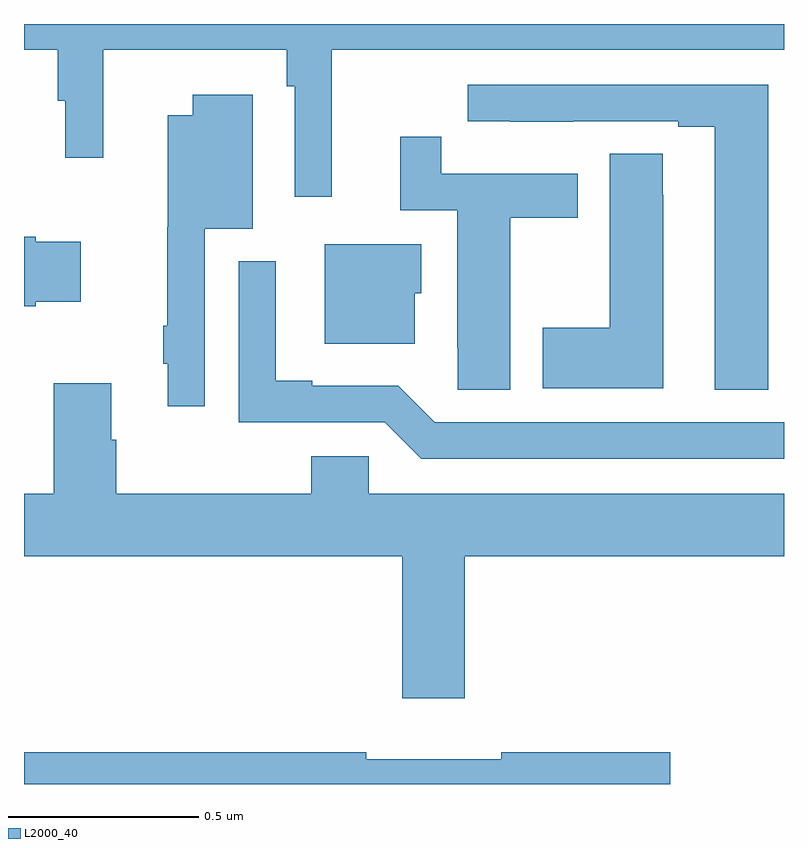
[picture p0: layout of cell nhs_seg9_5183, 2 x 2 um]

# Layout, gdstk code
import gdstk
lib = gdstk.Library(unit=1e-6, precision=1e-09)
def P(c, l, *ps):  # polygons
    for p in ps: c.add(gdstk.Polygon(p, *l))
L2000_40 = (2000, 40)

nhs_seg9_5183 = lib.new_cell('nhs_seg9_5183')
P(nhs_seg9_5183, L2000_40, [(176.81,1184.432),(178,1184.432),(178,1184.5),(176,1184.5),(176,1184.432),(176.089,1184.432),(176.089,1184.298),(176.108,1184.298),(176.108,1184.148),(176.208,1184.148),(176.208,1184.432),(176.692,1184.432),(176.692,1184.336),(176.712,1184.336),(176.712,1184.046),(176.81,1184.046)],
  [(177.958,1184.34),(177.168,1184.34),(177.168,1184.244),(177.28,1184.244),(177.28,1184.243),(177.446,1184.243),(177.446,1184.244),(177.722,1184.244),(177.722,1184.229),(177.818,1184.229),(177.818,1183.537),(177.958,1183.537)],
  [(176.475,1183.961),(176.602,1183.961),(176.602,1184.314),(176.444,1184.314),(176.444,1184.26),(176.378,1184.26),(176.378,1183.965),(176.377,1183.965),(176.377,1183.706),(176.367,1183.706),(176.367,1183.606),(176.378,1183.606),(176.378,1183.494),(176.475,1183.494)],
  [(177.28,1183.99),(177.457,1183.99),(177.457,1184.106),(177.098,1184.106),(177.098,1184.203),(176.99,1184.203),(176.99,1184.01),(177.14,1184.01),(177.14,1183.648),(177.141,1183.648),(177.141,1183.537),(177.28,1183.537)],
  [(177.682,1184.051),(177.681,1184.051),(177.681,1184.159),(177.542,1184.159),(177.542,1183.701),(177.365,1183.701),(177.365,1183.541),(177.682,1183.541)],
  [(176.031,1183.769),(176.149,1183.769),(176.149,1183.927),(176.031,1183.927),(176.031,1183.94),(176,1183.94),(176,1183.757),(176.031,1183.757)],
  [(177.028,1183.791),(177.046,1183.791),(177.046,1183.921),(176.792,1183.921),(176.792,1183.658),(177.028,1183.658)],
  [(178,1183.452),(177.081,1183.452),(176.985,1183.548),(176.758,1183.548),(176.758,1183.561),(176.662,1183.561),(176.662,1183.876),(176.565,1183.876),(176.565,1183.452),(176.949,1183.452),(177.045,1183.356),(178,1183.356)],
  [(177.16,1183.1),(178,1183.1),(178,1183.264),(176.907,1183.264),(176.907,1183.362),(176.756,1183.362),(176.756,1183.264),(176.243,1183.264),(176.243,1183.406),(176.23,1183.406),(176.23,1183.555),(176.078,1183.555),(176.078,1183.264),(176,1183.264),(176,1183.1),(176.996,1183.1),(176.996,1182.726),(177.16,1182.726)],
  [(177.701,1182.584),(177.256,1182.584),(177.256,1182.565),(176.9,1182.565),(176.9,1182.584),(176,1182.584),(176,1182.5),(177.701,1182.5)])

lib.write_gds('nhs_seg9_5183.gds')
